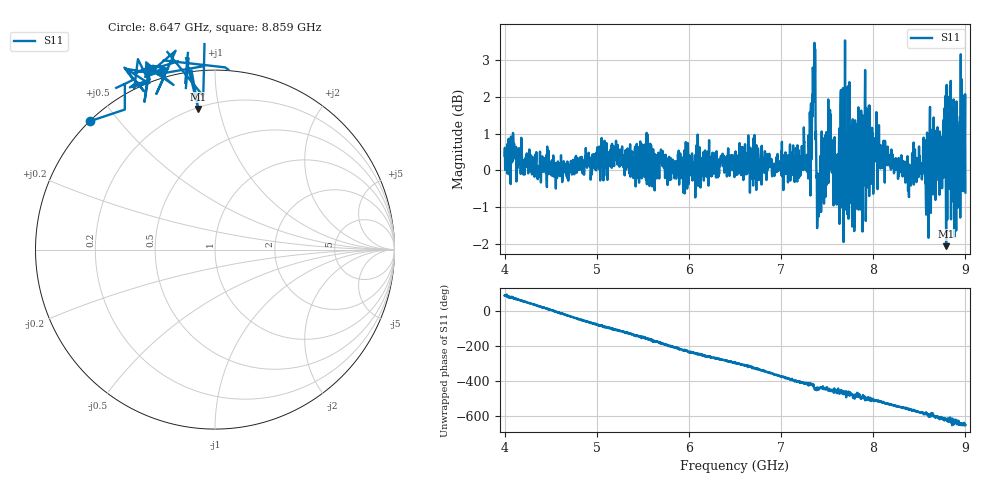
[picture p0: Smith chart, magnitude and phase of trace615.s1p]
! Created with skrf 1.8.0 (http://scikit-rf.org).
# Hz S RI R 50.0
!freq ReS11 ImS11
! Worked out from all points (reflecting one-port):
!   1601 points, 4 GHz to 9 GHz, reference 50 ohm
!   lowest |S11| = -2.1 dB at 8.791 GHz (marker M1), VSWR 8.49, Z = 10.4 + j43.3 ohm
!   phase of S11 starts at 85 deg and turns -738 deg over the sweep
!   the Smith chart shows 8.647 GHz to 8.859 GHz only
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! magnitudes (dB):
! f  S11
! 4 GHz  0.4
! 4.625 GHz  -0.3
! 5.25 GHz  0.2
! 5.875 GHz  -0.1
! 6.5 GHz  0.5
! 7.125 GHz  0.1
! 7.281 GHz  0.4
! 7.309 GHz  1.0
! 7.347 GHz  2.7
! 7.362 GHz  3.5
! 7.409 GHz  -1.2
! 7.512 GHz  1.9
! 7.609 GHz  -0.7
! 7.669 GHz  1.0
! 7.697 GHz  -0.9
! 7.75 GHz  0.6
! 7.784 GHz  -1.4
! 7.834 GHz  -0.3
! 7.866 GHz  -0.2
! 7.928 GHz  0.5
! 8.375 GHz  0.0
! 8.534 GHz  0.2
! 8.588 GHz  0.6
! 8.656 GHz  1.4
! 8.791 GHz  -2.1
! 8.919 GHz  -0.3
! 8.972 GHz  0.6
! 9 GHz  -0.6
